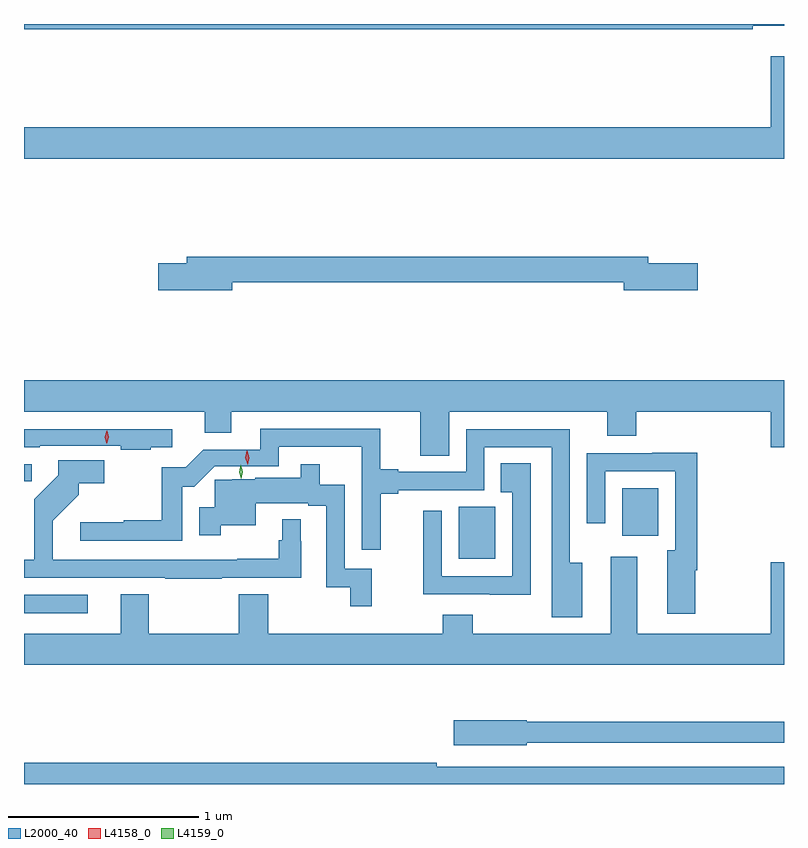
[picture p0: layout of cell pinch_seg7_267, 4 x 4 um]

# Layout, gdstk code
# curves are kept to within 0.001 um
import gdstk
lib = gdstk.Library(unit=1e-6, precision=1e-09)
def R(c, l, rs):  # rectangles x0, y0, x1, y1
    for r in rs: c.add(gdstk.rectangle(r[:2], r[2:], *l))
def P(c, l, *ps):  # polygons
    for p in ps: c.add(gdstk.Polygon(p, *l))
L2000_40 = (2000, 40)
L4158_0 = (4158, 0)
L4159_0 = (4159, 0)

pinch_seg7_267 = lib.new_cell('pinch_seg7_267')
R(pinch_seg7_267, L2000_40, [(664.573,1058.163,664.909,1058.259), (666.86,1058.45,667.054,1058.722), (667.721,1058.571,667.912,1058.821), (664.573,1058.858,664.613,1058.946)])
P(pinch_seg7_267, L2000_40, [(668.408,1061.255),(668.573,1061.255),(668.573,1061.264),(664.573,1061.264),(664.573,1061.236),(668.408,1061.236)],
  [(668.573,1061.095),(668.504,1061.095),(668.504,1060.72),(664.573,1060.72),(664.573,1060.556),(668.573,1060.556)],
  [(665.668,1059.904),(667.73,1059.904),(667.73,1059.862),(668.119,1059.862),(668.119,1060.004),(667.858,1060.004),(667.858,1060.04),(665.429,1060.04),(665.429,1060.004),(665.28,1060.004),(665.28,1059.862),(665.668,1059.862)],
  [(666.811,1059.224),(667.643,1059.224),(667.643,1059.096),(667.796,1059.096),(667.796,1059.224),(668.504,1059.224),(668.504,1059.036),(668.573,1059.036),(668.573,1059.388),(664.573,1059.388),(664.573,1059.224),(665.525,1059.224),(665.525,1059.113),(665.665,1059.113),(665.665,1059.224),(666.659,1059.224),(666.659,1058.992),(666.811,1058.992)],
  [(667.51,1058.428),(667.446,1058.428),(667.446,1059.132),(666.9,1059.132),(666.9,1058.907),(666.544,1058.907),(666.544,1058.92),(666.449,1058.92),(666.449,1059.135),(665.817,1059.135),(665.817,1059.024),(665.517,1059.024),(665.424,1058.931),(665.298,1058.931),(665.298,1058.653),(665.097,1058.653),(665.097,1058.642),(664.869,1058.642),(664.869,1058.544),(665.406,1058.544),(665.406,1058.828),(665.469,1058.828),(665.576,1058.936),(665.914,1058.936),(665.914,1059.039),(666.351,1059.039),(666.351,1058.496),(666.45,1058.496),(666.45,1058.791),(666.544,1058.791),(666.544,1058.811),(666.996,1058.811),(666.996,1059.036),(667.35,1059.036),(667.35,1058.141),(667.51,1058.141)],
  [(665.24,1059.036),(665.353,1059.036),(665.353,1059.132),(664.573,1059.132),(664.573,1059.036),(664.655,1059.036),(664.655,1059.044),(665.083,1059.044),(665.083,1059.024),(665.24,1059.024)],
  [(668.106,1058.39),(668.117,1058.39),(668.117,1059.008),(667.879,1059.008),(667.879,1059.006),(667.536,1059.006),(667.536,1058.637),(667.632,1058.637),(667.632,1058.91),(668.001,1058.91),(668.001,1058.493),(667.958,1058.493),(667.958,1058.16),(668.106,1058.16)],
  [(665.615,1058.349),(666.031,1058.349),(666.03,1058.657),(665.933,1058.657),(665.933,1058.546),(665.914,1058.546),(665.914,1058.45),(665.695,1058.45),(665.695,1058.445),(664.723,1058.445),(664.723,1058.649),(664.861,1058.786),(664.861,1058.846),(664.996,1058.846),(664.996,1058.969),(664.752,1058.969),(664.752,1058.889),(664.626,1058.763),(664.626,1058.445),(664.573,1058.445),(664.573,1058.349),(665.317,1058.349),(665.317,1058.344),(665.615,1058.344)],
  [(667.239,1058.951),(667.081,1058.951),(667.081,1058.8),(667.143,1058.8),(667.143,1058.358),(666.771,1058.358),(666.771,1058.701),(666.673,1058.701),(666.673,1058.262),(667.024,1058.262),(667.024,1058.261),(667.239,1058.261)],
  [(666.404,1058.397),(666.261,1058.397),(666.261,1058.84),(666.13,1058.84),(666.13,1058.947),(666.029,1058.947),(666.029,1058.875),(665.79,1058.875),(665.79,1058.869),(665.669,1058.869),(665.669,1058.865),(665.577,1058.865),(665.577,1058.721),(665.495,1058.721),(665.495,1058.574),(665.609,1058.574),(665.609,1058.625),(665.794,1058.625),(665.794,1058.742),(666.068,1058.742),(666.068,1058.729),(666.164,1058.729),(666.164,1058.299),(666.291,1058.299),(666.291,1058.199),(666.404,1058.199)],
  [(667.661,1058.461),(667.661,1058.056),(666.936,1058.056),(666.936,1058.155),(666.776,1058.155),(666.776,1058.056),(665.859,1058.056),(665.859,1058.264),(665.704,1058.264),(665.704,1058.056),(665.229,1058.056),(665.229,1058.264),(665.081,1058.264),(665.081,1058.056),(664.573,1058.056),(664.573,1057.892),(668.573,1057.892),(668.573,1058.431),(668.504,1058.431),(668.504,1058.056),(667.801,1058.056),(667.801,1058.461)],
  [(667.218,1057.482),(668.573,1057.482),(668.573,1057.591),(667.218,1057.591),(667.218,1057.599),(666.834,1057.599),(666.834,1057.469),(667.218,1057.469)],
  [(668.573,1057.356),(666.746,1057.356),(666.746,1057.376),(664.573,1057.376),(664.573,1057.264),(668.573,1057.264)])
P(pinch_seg7_267, L4158_0, [(665.75,1058.945),(665.75,1058.945),(665.738,1058.98),(665.746,1059.017),(665.747,1059.017),(665.747,1059.017),(665.758,1058.982),(665.751,1058.945)],
  [(665.008,1059.055),(665.008,1059.055),(664.999,1059.09),(665.009,1059.124),(665.01,1059.124),(665.01,1059.124),(665.019,1059.09),(665.008,1059.055)])
P(pinch_seg7_267, L4159_0, [(665.716,1058.87),(665.716,1058.87),(665.706,1058.906),(665.715,1058.943),(665.715,1058.943),(665.715,1058.943),(665.725,1058.907),(665.716,1058.87)])

lib.write_gds('pinch_seg7_267.gds')
